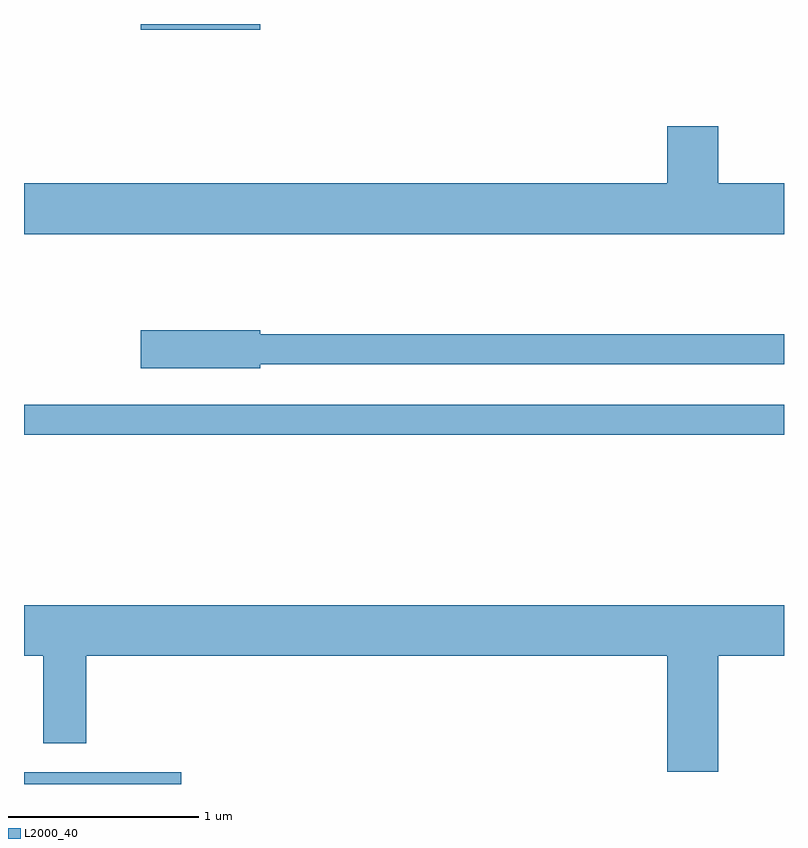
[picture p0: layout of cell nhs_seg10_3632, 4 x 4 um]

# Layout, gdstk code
import gdstk
lib = gdstk.Library(unit=1e-6, precision=1e-09)
def R(c, l, rs):  # rectangles x0, y0, x1, y1
    for r in rs: c.add(gdstk.rectangle(r[:2], r[2:], *l))
def P(c, l, *ps):  # polygons
    for p in ps: c.add(gdstk.Polygon(p, *l))
L2000_40 = (2000, 40)

nhs_seg10_3632 = lib.new_cell('nhs_seg10_3632')
R(nhs_seg10_3632, L2000_40, [(291.611,2166.522,292.438,2166.584), (291.611,2168.361,295.611,2168.519), (292.226,2170.491,292.854,2170.522)])
P(nhs_seg10_3632, L2000_40, [(295.611,2169.684),(295.264,2169.684),(295.264,2169.984),(294.996,2169.984),(294.996,2169.684),(291.611,2169.684),(291.611,2169.416),(295.611,2169.416)],
  [(292.854,2168.731),(295.611,2168.731),(295.611,2168.889),(292.854,2168.889),(292.854,2168.909),(292.226,2168.909),(292.226,2168.711),(292.854,2168.711)],
  [(295.264,2167.196),(295.611,2167.196),(295.611,2167.464),(291.611,2167.464),(291.611,2167.196),(291.711,2167.196),(291.711,2166.736),(291.939,2166.736),(291.939,2167.196),(294.996,2167.196),(294.996,2166.586),(295.264,2166.586)])

lib.write_gds('nhs_seg10_3632.gds')
